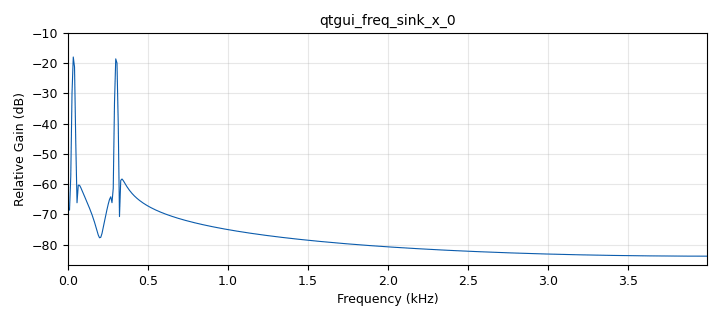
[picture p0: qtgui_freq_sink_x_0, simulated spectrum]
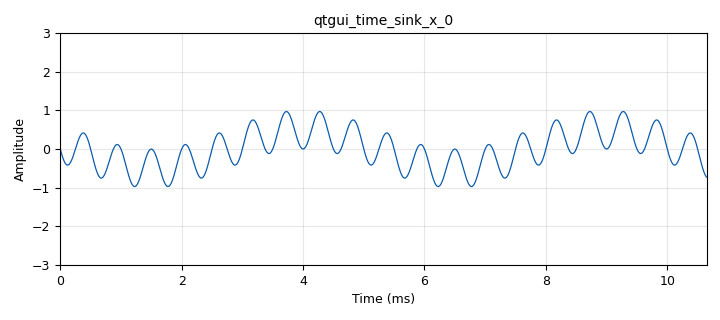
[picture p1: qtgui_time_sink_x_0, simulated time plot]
options:
  parameters:
    author: mineev
    generate_options: qt_gui
    id: rulesson2
    output_language: python
    title: Not titled yet
  states: {}

blocks:
- name: samp_rate
  id: variable
  parameters:
    value: '48000'
  states: {}
- name: analog_sig_source_x_0
  id: analog_sig_source_x
  parameters:
    amp: '1'
    freq: '800'
    offset: '0'
    phase: '0'
    samp_rate: samp_rate
    type: float
    waveform: analog.GR_SIN_WAVE
  states: {}
- name: analog_sig_source_x_1
  id: analog_sig_source_x
  parameters:
    amp: '1'
    freq: '1000'
    offset: '0'
    phase: '0'
    samp_rate: samp_rate
    type: float
    waveform: analog.GR_SIN_WAVE
  states: {}
- name: blocks_multiply_xx_0
  id: blocks_multiply_xx
  parameters:
    type: float
  states: {}
- name: blocks_throttle2_0
  id: blocks_throttle2
  parameters:
    samples_per_second: samp_rate
    type: float
  states: {}
- name: qtgui_freq_sink_x_0
  id: qtgui_freq_sink_x
  parameters:
    autoscale: 'True'
    bw: '8000'
    fc: '0'
    fftsize: '1024'
    freqhalf: 'False'
    type: float
    wintype: window.WIN_HAMMING
  states: {}
- name: qtgui_time_sink_x_0
  id: qtgui_time_sink_x
  parameters:
    size: '512'
    srate: samp_rate
    type: float
    ymax: '3'
    ymin: '-3'
  states: {}

connections:
- [analog_sig_source_x_0, '0', blocks_multiply_xx_0, '0']
- [analog_sig_source_x_1, '0', blocks_multiply_xx_0, '1']
- [blocks_multiply_xx_0, '0', blocks_throttle2_0, '0']
- [blocks_throttle2_0, '0', qtgui_freq_sink_x_0, '0']
- [blocks_throttle2_0, '0', qtgui_time_sink_x_0, '0']

metadata:
  file_format: 1
  grc_version: 3.10.7.0
